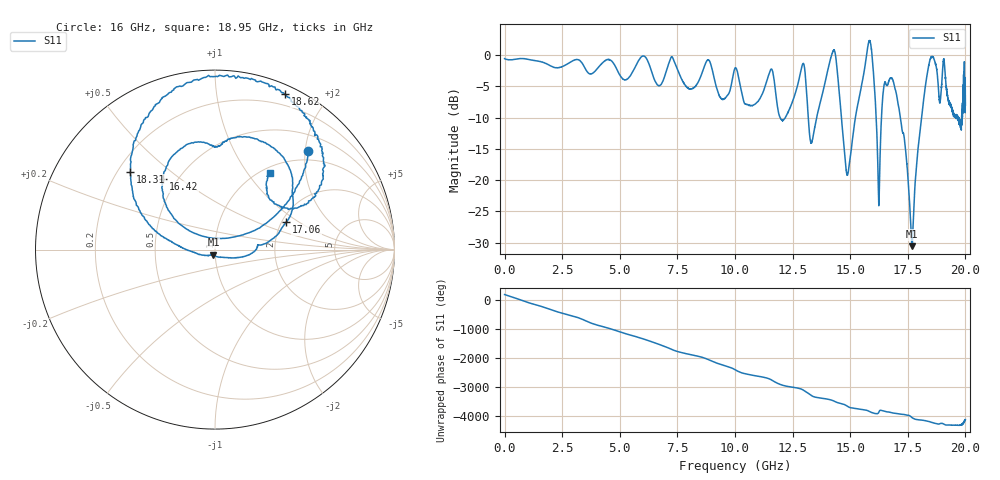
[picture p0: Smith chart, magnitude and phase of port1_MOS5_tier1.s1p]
! Created with skrf 1.8.0 (http://scikit-rf.org).
# GHz S RI R 50.0
!freq ReS11 ImS11
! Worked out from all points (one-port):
!   10001 points, 1 MHz to 20 GHz, reference 50 ohm
!   lowest |S11| = -30.6 dB at 17.68 GHz (marker M1), VSWR 1.06, Z = 49.1 - j2.78 ohm
!   |S11| at or under -10 dB: 13.18 GHz to 13.54 GHz (360.8 MHz wide, 2.7 % of centre); 14.62 GHz to 15.23 GHz (605.8 MHz wide, 4.06 % of centre); 17.18 GHz to 18.1 GHz (919.8 MHz wide, 5.21 % of centre) (the widest 3 of 19)
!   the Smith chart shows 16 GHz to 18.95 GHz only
!   S11 on the Smith chart (normalised r, x): 16 GHz: 0.80, +2.07; 16.42 GHz: 0.42, +0.43; 17.06 GHz: 2.12, +0.80; 18.31 GHz: 0.25, +0.37; 18.62 GHz: 0.09, +1.54; 18.95 GHz: 1.09, +1.28
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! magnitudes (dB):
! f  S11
! 1 MHz  -0.6
! 2.501 GHz  -1.8
! 5.001 GHz  -3.2
! 7.501 GHz  -2.3
! 8.857 GHz  -0.8
! 9.479 GHz  -7.1
! 10 GHz  -2.1
! 10.5 GHz  -7.9
! 11.56 GHz  -2.3
! 12 GHz  -10.3
! 12.5 GHz  -7.4
! 12.97 GHz  -1.3
! 13.34 GHz  -13.8
! 14.29 GHz  0.8
! 14.81 GHz  -18.0
! 15 GHz  -16.5
! 15.78 GHz  1.7
! 16 GHz  -2.4
! 16.23 GHz  -22.8
! 16.42 GHz  -6.2
! 17.06 GHz  -7.4
! 17.5 GHz  -19.3
! 17.68 GHz  -30.6
! 18.31 GHz  -3.9
! 18.62 GHz  -0.5
! 18.95 GHz  -5.6
! 19.75 GHz  -10.5
! 20 GHz  -8.0
